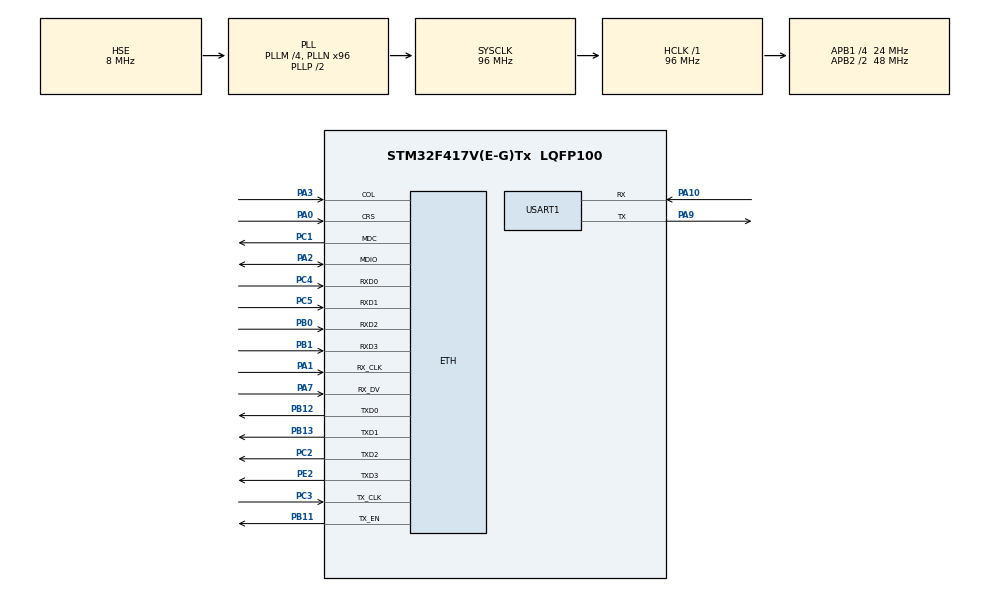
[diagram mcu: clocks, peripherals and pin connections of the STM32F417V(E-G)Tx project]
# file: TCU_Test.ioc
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ETH.MediaInterface=HAL_ETH_MII_MODE
ETH.PHY_Name_MII=DP83848_PHY_ADDRESS
FREERTOS.Tasks01=defaultTask,0,512,StartDefaultTask,Default,NULL,Dynamic,NULL,NULL
FREERTOS.configUSE_NEWLIB_REENTRANT=1
LWIP.BSP.number=1
LWIP.GATEWAY_ADDRESS=192.168.002.002
LWIP.IP_ADDRESS=192.168.002.036
LWIP.LWIP_DHCP=0
LWIP.NETMASK_ADDRESS=255.255.255.000
LWIP.Version=v2.1.2_Cube
LWIP0.BSP.STBoard=false
LWIP0.BSP.api=BSP_COMPONENT_DRIVER
LWIP0.BSP.component=DP83848
LWIP0.BSP.instance=DP83848
LWIP0.BSP.name=Driver_PHY
LWIP0.BSP.semaphore=S_DP83848
LWIP0.BSP.solution=DP83848
Mcu.Family=STM32F4
Mcu.Name=STM32F417V(E-G)Tx
Mcu.Package=LQFP100
NVIC.ETH_IRQn=true\:5\:0\:false\:false\:true\:true\:false\:true\:true
NVIC.PriorityGroup=NVIC_PRIORITYGROUP_4
NVIC.TIM1_UP_TIM10_IRQn=true\:15\:0\:false\:false\:true\:false\:false\:true\:true
NVIC.TimeBase=TIM1_UP_TIM10_IRQn
NVIC.TimeBaseIP=TIM1
PA0-WKUP.Mode=MII
PA0-WKUP.Signal=ETH_CRS
PA1.Mode=MII
PA1.Signal=ETH_RX_CLK
PA10.Mode=Asynchronous
PA10.Signal=USART1_RX
PA2.Mode=MII
PA2.Signal=ETH_MDIO
PA3.Mode=MII
PA3.Signal=ETH_COL
PA7.Mode=MII
PA7.Signal=ETH_RX_DV
PA9.Mode=Asynchronous
PA9.Signal=USART1_TX
PB0.Mode=MII
PB0.Signal=ETH_RXD2
PB1.Mode=MII
PB1.Signal=ETH_RXD3
PB11.Mode=MII
PB11.Signal=ETH_TX_EN
PB12.Mode=MII
PB12.Signal=ETH_TXD0
PB13.Mode=MII
PB13.Signal=ETH_TXD1
PC1.Mode=MII
PC1.Signal=ETH_MDC
PC2.Mode=MII
PC2.Signal=ETH_TXD2
PC3.Mode=MII
PC3.Signal=ETH_TX_CLK
PC4.Mode=MII
PC4.Signal=ETH_RXD0
PC5.Mode=MII
PC5.Signal=ETH_RXD1
PE2.Mode=MII
PE2.Signal=ETH_TXD3
PH0-OSC_IN.Mode=HSE-External-Oscillator
PH0-OSC_IN.Signal=RCC_OSC_IN
PH1-OSC_OUT.Mode=HSE-External-Oscillator
PH1-OSC_OUT.Signal=RCC_OSC_OUT
ProjectManager.HeapSize=0x200
ProjectManager.StackSize=0x400
ProjectManager.TargetToolchain=STM32CubeIDE
RCC.48MHZClocksFreq_Value=48000000
RCC.AHBFreq_Value=96000000
RCC.APB1CLKDivider=RCC_HCLK_DIV4
RCC.APB1Freq_Value=24000000
RCC.APB1TimFreq_Value=48000000
RCC.APB2CLKDivider=RCC_HCLK_DIV2
RCC.APB2Freq_Value=48000000
RCC.APB2TimFreq_Value=96000000
RCC.CortexFreq_Value=96000000
RCC.HCLKFreq_Value=96000000
RCC.HSE_VALUE=8000000
RCC.HSI_VALUE=16000000
RCC.LSE_VALUE=32768
RCC.PLLM=4
RCC.PLLN=96
RCC.PLLSourceVirtual=RCC_PLLSOURCE_HSE
RCC.SYSCLKFreq_VALUE=96000000
RCC.SYSCLKSource=RCC_SYSCLKSOURCE_PLLCLK
RCC.VCOOutputFreq_Value=192000000
USART1.VirtualMode=VM_ASYNC
VP_FREERTOS_VS_CMSIS_V1.Mode=CMSIS_V1
VP_LWIP_VS_Enabled.Mode=Enabled
VP_SYS_VS_tim1.Mode=TIM1
board=custom

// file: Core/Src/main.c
/* USER CODE BEGIN Header */
/**
  ******************************************************************************
  * @file           : main.c
  * @brief          : Main program body
  ******************************************************************************
  * @attention
  *
  * Copyright (c) 2024 STMicroelectronics.
  * All rights reserved.
  *
  * This software is licensed under terms that can be found in the LICENSE file
  * in the root directory of this software component.
  * If no LICENSE file comes with this software, it is provided AS-IS.
  *
  ******************************************************************************
  */
/* USER CODE END Header */
#include "main.h"
#include "cmsis_os.h"
#include "lwip.h"

/* USER CODE BEGIN Includes */

#include "tcpclient.h"
#include "math.h"
#include "stdio.h"
#include "lwip.h"
#include "lwip/init.h"
#include "lwip/netif.h"
#if defined ( __CC_ARM )  /* MDK ARM Compiler */
#include "lwip/sio.h"
#endif /* MDK ARM Compiler */
#include "ethernetif.h"
#include "main.h"
/* USER CODE END Includes */

UART_HandleTypeDef huart1;

osThreadId defaultTaskHandle;
/* USER CODE BEGIN PV */
#ifdef __GNUC__
#define PUTCHAR_PROTOTYPE int __io_putchar(int ch)
#else
#define PUTCHAR_PROTOTYPE int fputc(int ch, FILE *f)
#endif
PUTCHAR_PROTOTYPE
{
    //具体哪个串口可以更改huart1为其它串�??????????
    HAL_UART_Transmit(&huart1 , (uint8_t *)&ch, 1 , 0xffff);
    return ch;
}

struct tcp_pcb *client_pcb = NULL;
/* USER CODE END PV */

void SystemClock_Config(void);
static void MX_GPIO_Init(void);
static void MX_USART1_UART_Init(void);
void StartDefaultTask(void const * argument);

int main(void)
{

  /* MCU Configuration--------------------------------------------------------*/

  /* Reset of all peripherals, Initializes the Flash interface and the Systick. */
  HAL_Init();

  /* Configure the system clock */
  SystemClock_Config();

  /* Initialize all configured peripherals */
  MX_GPIO_Init();
  MX_USART1_UART_Init();
  /* USER CODE BEGIN 2 */
  printf("uart init\n\r");

  /* USER CODE END 2 */

  /* Create the thread(s) */
  /* definition and creation of defaultTask */
  osThreadDef(defaultTask, StartDefaultTask, osPriorityNormal, 0, 512);
  defaultTaskHandle = osThreadCreate(osThread(defaultTask), NULL);

  /* Start scheduler */
  osKernelStart();

  /* We should never get here as control is now taken by the scheduler */
  /* Infinite loop */
  while (1)
  {

  }
}

void SystemClock_Config(void)
{
  RCC_OscInitTypeDef RCC_OscInitStruct = {0};
  RCC_ClkInitTypeDef RCC_ClkInitStruct = {0};

  /** Configure the main internal regulator output voltage
  */
  __HAL_RCC_PWR_CLK_ENABLE();
  __HAL_PWR_VOLTAGESCALING_CONFIG(PWR_REGULATOR_VOLTAGE_SCALE1);

  /** Initializes the RCC Oscillators according to the specified parameters
  * in the RCC_OscInitTypeDef structure.
  */
  RCC_OscInitStruct.OscillatorType = RCC_OSCILLATORTYPE_HSE;
  RCC_OscInitStruct.HSEState = RCC_HSE_ON;
  RCC_OscInitStruct.PLL.PLLState = RCC_PLL_ON;
  RCC_OscInitStruct.PLL.PLLSource = RCC_PLLSOURCE_HSE;
  RCC_OscInitStruct.PLL.PLLM = 4;
  RCC_OscInitStruct.PLL.PLLN = 96;
  RCC_OscInitStruct.PLL.PLLP = RCC_PLLP_DIV2;
  RCC_OscInitStruct.PLL.PLLQ = 4;
  if (HAL_RCC_OscConfig(&RCC_OscInitStruct) != HAL_OK)
  {
    Error_Handler();
  }

  /** Initializes the CPU, AHB and APB buses clocks
  */
  RCC_ClkInitStruct.ClockType = RCC_CLOCKTYPE_HCLK|RCC_CLOCKTYPE_SYSCLK
                              |RCC_CLOCKTYPE_PCLK1|RCC_CLOCKTYPE_PCLK2;
  RCC_ClkInitStruct.SYSCLKSource = RCC_SYSCLKSOURCE_PLLCLK;
  RCC_ClkInitStruct.AHBCLKDivider = RCC_SYSCLK_DIV1;
  RCC_ClkInitStruct.APB1CLKDivider = RCC_HCLK_DIV4;
  RCC_ClkInitStruct.APB2CLKDivider = RCC_HCLK_DIV2;

  if (HAL_RCC_ClockConfig(&RCC_ClkInitStruct, FLASH_LATENCY_3) != HAL_OK)
  {
    Error_Handler();
  }
}

static void MX_USART1_UART_Init(void)
{

  huart1.Instance = USART1;
  huart1.Init.BaudRate = 115200;
  huart1.Init.WordLength = UART_WORDLENGTH_8B;
  huart1.Init.StopBits = UART_STOPBITS_1;
  huart1.Init.Parity = UART_PARITY_NONE;
  huart1.Init.Mode = UART_MODE_TX_RX;
  huart1.Init.HwFlowCtl = UART_HWCONTROL_NONE;
  huart1.Init.OverSampling = UART_OVERSAMPLING_16;
  if (HAL_UART_Init(&huart1) != HAL_OK)
  {
    Error_Handler();
  }

}

static void MX_GPIO_Init(void)
{

  /* GPIO Ports Clock Enable */
  __HAL_RCC_GPIOE_CLK_ENABLE();
  __HAL_RCC_GPIOH_CLK_ENABLE();
  __HAL_RCC_GPIOC_CLK_ENABLE();
  __HAL_RCC_GPIOA_CLK_ENABLE();
  __HAL_RCC_GPIOB_CLK_ENABLE();

}

void StartDefaultTask(void const * argument)
{
  /* init code for LWIP */
	printf("start!\n\r");
  MX_LWIP_Init();
  printf("init done!\n\r");
  /* USER CODE BEGIN 5 */
  //  TCP_Client_Init();
    int soctemp=create_tcp_client();
  //  double t=0,y=0;
    int t=0,y=0;
    uint8_t send_buf[1550];
  //  uint8_t send_buf[30];
    /* Infinite loop */
    for(;;)
    {
  //	sprintf(send_buf,"{\"t\": %f, \"y\": %f}\n{\"t\": %f, \"y\": %f}\n{\"t\": %f, \"y\": %f}\n{\"t\": %f, \"y\": %f}\n",t,y,t,y,t,y,t,y);
  //	sprintf(send_buf,"{\"t\": %d, \"y\": %d}\n{\"t\": %d, \"y\": %d}\n{\"t\": %d, \"y\": %d}\n{\"t\": %d, \"y\": %d}\n",t,y,t,y,t,y,t,y);
  	sprintf(send_buf,"12345678901234567890123456789012345678901234567890\n12345678901234567890123456789012345678901234567890\n12345678901234567890123456789012345678901234567890\n"
  			"12345678901234567890123456789012345678901234567890\n12345678901234567890123456789012345678901234567890\n12345678901234567890123456789012345678901234567890\n"
  			"12345678901234567890123456789012345678901234567890\n12345678901234567890123456789012345678901234567890\n12345678901234567890123456789012345678901234567890\n"
  //			"12345678901234567890123456789012345678901234567890\n12345678901234567890123456789012345678901234567890\n12345678901234567890123456789012345678901234567890\n"
  //			"12345678901234567890123456789012345678901234567890\n12345678901234567890123456789012345678901234567890\n12345678901234567890123456789012345678901234567890\n"
  //			"12345678901234567890123456789012345678901234567890\n12345678901234567890123456789012345678901234567890\n12345678901234567890123456789012345678901234567890\n"
  //			"12345678901234567890123456789012345678901234567890\n12345678901234567890123456789012345678901234567890\n12345678901234567890123456789012345678901234567890\n"
  			"12345678901234567890123456789012345678901234567890\n12345678901234567890123456789012345678901234567890\n12345678901234567890123456789012345678901234567890\n"
  			"12345678901234567890123456789012345678901234567890\n12345678901234567890123456789012345678901234567890\n12345678901234567890123456789012345678901234567890\n"
  			"12345678901234567890123456789012345678901234567890\n12345678901234567890123456789012345678901234567890\n12345678901234567890123456789012345678901234567890\n");

  //	sprintf(send_buf,"{\"t\": %d, \"y\": %d}\n{\"t\": %d, \"y\": %d}\n{\"t\": %d, \"y\": %d}\n{\"t\": %d, \"y\": %d}\n{\"t\": %d, \"y\": %d}\n{\"t\": %d, \"y\": %d}\n{\"t\": %d, \"y\": %d}\n{\"t\": %d, \"y\": %d}\n{\"t\": %d, \"y\": %d}\n{\"t\": %d, \"y\": %d}\n{\"t\": %d, \"y\": %d}\n{\"t\": %d, \"y\": %d}\n{\"t\": %d, \"y\": %d}\n{\"t\": %d, \"y\": %d}\n{\"t\": %d, \"y\": %d}\n{\"t\": %d, \"y\": %d}\n{\"t\": %d, \"y\": %d}\n{\"t\": %d, \"y\": %d}\n{\"t\": %d, \"y\": %d}\n{\"t\": %d, \"y\": %d}\n{\"t\": %d, \"y\": %d}\n{\"t\": %d, \"y\": %d}\n{\"t\": %d, \"y\": %d}\n{\"t\": %d, \"y\": %d}\n{\"t\": %d, \"y\": %d}\n{\"t\": %d, \"y\": %d}\n{\"t\": %d, \"y\": %d}\n{\"t\": %d, \"y\": %d}\n{\"t\": %d, \"y\": %d}\n{\"t\": %d, \"y\": %d}\n{\"t\": %d, \"y\": %d}\n{\"t\": %d, \"y\": %d}\n{\"t\": %d, \"y\": %d}\n{\"t\": %d, \"y\": %d}\n{\"t\": %d, \"y\": %d}\n{\"t\": %d, \"y\": %d}\n",t,y,t,y,t,y,t,y,t,y,t,y,t,y,t,y,t,y,t,y,t,y,t,y,t,y,t,y,t,y,t,y,t,y,t,y,t,y,t,y,t,y,t,y,t,y,t,y,t,y,t,y,t,y,t,y,t,y,t,y,t,y,t,y,t,y,t,y,t,y,t,y);
  //	sprintf(send_buf,"{\"t\": %d, \"y\": %d}\n",(int)t,(int)y);
  //	t+=0.05;
  //	if(t>4)t=0;
  //	y=sin(t*7);
  	t+=1;
  	if(t>100)t=0;
  	y=t*2;//(int)sin(t*7);
  	//发�?�数据到服务�???????
  //	send_json_data(client_pcb, send_buf);
  	tcp_client_send(soctemp, send_buf);
      osDelay(5);
//      HAL_GPIO_TogglePin(GPIOB, GPIO_PIN_0);
    }
  /* USER CODE END 5 */
}

void HAL_TIM_PeriodElapsedCallback(TIM_HandleTypeDef *htim)
{
  if (htim->Instance == TIM1) {
    HAL_IncTick();
  }
}

void Error_Handler(void)
{
  __disable_irq();
  while (1)
  {
  }
}
